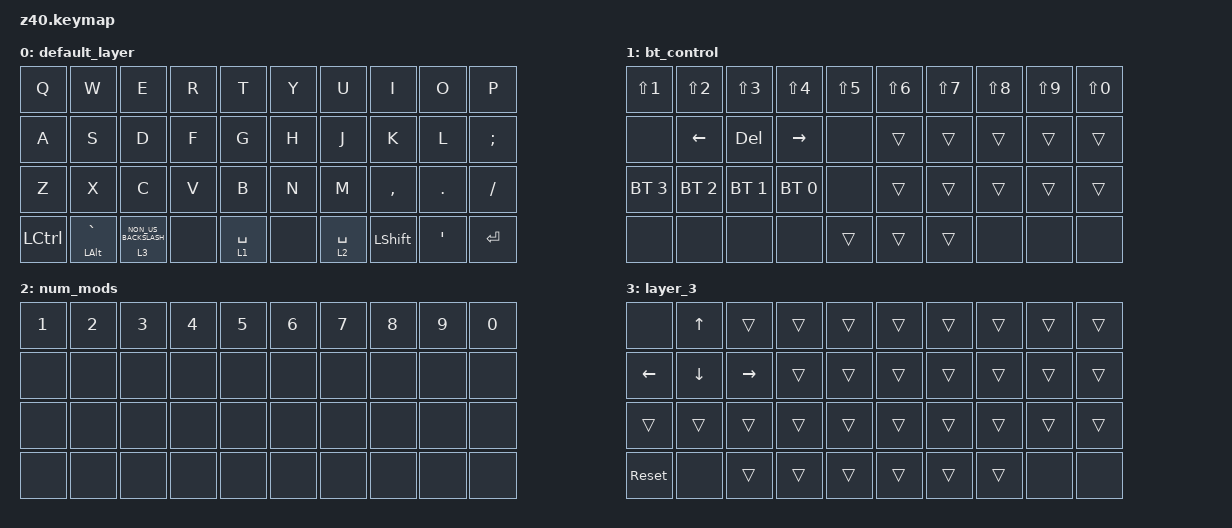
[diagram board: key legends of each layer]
/*
 * Copyright (c) 2021 The ZMK Contributors
 *
 * SPDX-License-Identifier: MIT
 */

#include <behaviors.dtsi>
#include <dt-bindings/zmk/bt.h>
#include <dt-bindings/zmk/keys.h>

#define DEFAULT  0
#define NUM_MODS 1
#define BT_CTRL  2

/ {
    combos {
        compatible = "zmk,combos";

        a {
            bindings = <&kp ESCAPE>;
            key-positions = <1 0>;
        };

        b {
            bindings = <&kp CAPS>;
            key-positions = <11 10>;
        };

        c {
            bindings = <&kp TAB>;
            key-positions = <21 20>;
        };

        d {
            bindings = <&kp BACKSPACE>;
            key-positions = <9 8>;
        };

        e {
            bindings = <&kp ENTER>;
            key-positions = <19 18>;
        };

        f {
            bindings = <&kp MINUS>;
            key-positions = <16 17>;
        };

        g {
            bindings = <&kp EQUAL>;
            key-positions = <17 18>;
        };

        h {
            bindings = <&bootloader>;
            key-positions = <24 18>;
        };

        j {
            bindings = <&kp CAPS>;
            key-positions = <10 11>;
        };

        i {
            bindings = <&kp LSHIFT>;
            key-positions = <29 28>;
        };

        k {
            bindings = <&bt BT_CLR>;
            key-positions = <22 18>;
        };
    };

    keymap {
        compatible = "zmk,keymap";

        default_layer {
            bindings = <
&kp Q      &kp W               &kp E                   &kp R  &kp T        &kp Y  &kp U        &kp I           &kp O    &kp P
&kp A      &kp S               &kp D                   &kp F  &kp G        &kp H  &kp J        &kp K           &kp L    &kp SEMI
&kp Z      &kp X               &kp C                   &kp V  &kp B        &kp N  &kp M        &kp COMMA       &kp DOT  &kp FSLH
&kp LCTRL  &mt LEFT_ALT GRAVE  &lt 3 NON_US_BACKSLASH  &none  &lt 1 SPACE  &none  &lt 2 SPACE  &kp LEFT_SHIFT  &kp SQT  &kp ENTER
            >;
        };

        bt_control {
            bindings = <
&kp LS(NUMBER_1)  &kp LS(NUMBER_2)  &kp LS(NUMBER_3)  &kp LS(NUMBER_4)  &kp LS(N5)  &kp LS(NUMBER_6)  &kp LS(N7)  &kp LS(N8)  &kp LS(N9)  &kp LS(N0)
&none             &kp LEFT_ARROW    &kp DEL           &kp RIGHT         &none       &trans            &trans      &trans      &trans      &trans
&bt BT_SEL 3      &bt BT_SEL 2      &bt BT_SEL 1      &bt BT_SEL 0      &none       &trans            &trans      &trans      &trans      &trans
&none             &none             &none             &none             &trans      &trans            &trans      &none       &none       &none
            >;
        };

        num_mods {
            bindings = <
&kp N1  &kp N2  &kp N3  &kp N4  &kp N5  &kp N6  &kp N7  &kp N8  &kp N9  &kp N0
&none   &none   &none   &none   &none   &none   &none   &none   &none   &none
&none   &none   &none   &none   &none   &none   &none   &none   &none   &none
&none   &none   &none   &none   &none   &none   &none   &none   &none   &none
            >;
        };

        layer_3 {
            bindings = <
&none       &kp UP_ARROW  &trans     &trans  &trans  &trans  &trans  &trans  &trans  &trans
&kp LEFT    &kp DOWN      &kp RIGHT  &trans  &trans  &trans  &trans  &trans  &trans  &trans
&trans      &trans        &trans     &trans  &trans  &trans  &trans  &trans  &trans  &trans
&sys_reset  &none         &trans     &trans  &trans  &trans  &trans  &trans  &none   &none
            >;
        };
    };
};
